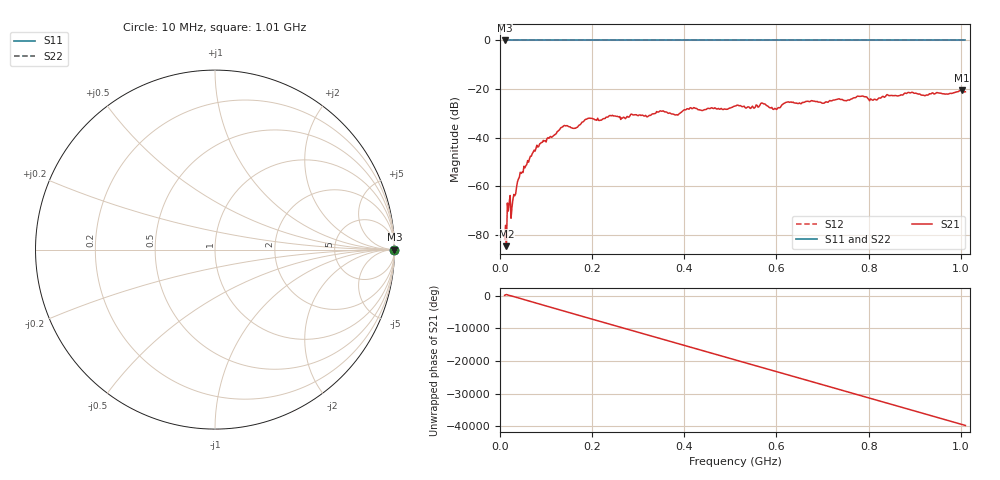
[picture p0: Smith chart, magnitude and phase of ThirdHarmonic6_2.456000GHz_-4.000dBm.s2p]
! 8/17/2025 4:25:09 AM
! C:\ANRITSUVNA\TEMP\TEMP.S2P
! CHANNEL.1
! TR.MEASUREMENT
! RAW.DATA
! RF.CORRECTION.OFF
! AVERAGING.OFF
! IF.BANDWIDTH: 5KHZ
! SWEEPTYPE:  FREQ.SWEEP(Linear)
! Reference Plane Port Info
! PORT:  PORT1  PORT2
! DISTANCE:  0  m  0  m
! TIME:  0  s  0  s
! PHASE.OFFSET:  0  deg.  0  deg.
! LOSS:  0  dB  0  dB
! REF.LOSS:  0  dB  0  dB
! REF.FREQ:  0  Hz  0  Hz
! Power Info
! POWER:  -20  dBm  -20  dBm
! EFF.POWER:  -20  dBm  -20  dBm
! SOURCE.ATTEN:  0  dB  0  dB
! TEST.ATTEN:  0  dB  0  dB
# GHZ S RI R 50.0
! FREQ.GHZ  S11RE  S11IM  S21RE  S21IM  S12RE  S12IM  S22RE  S22IM
!; PortSelection: Port_12
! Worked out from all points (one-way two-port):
!   501 points, 10 MHz to 1.01 GHz, reference 50 ohm
!   highest |S21| = -20.60 dB at 1.002 GHz (marker M1); lowest = -84.8 dB at 14 MHz (marker M2)
!   lowest |S11| = 0.0 dB at 10 MHz (marker M3)
!   |S11| at or under -10 dB: nowhere
!   |S22| runs from 0.0 to 0.0 dB; largest |S21 - S12| = 1.1
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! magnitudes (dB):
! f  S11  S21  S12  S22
! 10 MHz  0.0  -81.9  0.0  0.0
! 14 MHz  0.0  -84.8  0.0  0.0
! 20 MHz  0.0  -66.7  0.0  0.0
! 28 MHz  0.0  -65.7  0.0  0.0
! 42 MHz  0.0  -56.3  0.0  0.0
! 76 MHz  0.0  -45.6  0.0  0.0
! 136 MHz  0.0  -35.6  0.0  0.0
! 162 MHz  0.0  -36.2  0.0  0.0
! 178 MHz  0.0  -33.7  0.0  0.0
! 344 MHz  0.0  -29.5  0.0  0.0
! 382 MHz  0.0  -30.7  0.0  0.0
! 410 MHz  0.0  -28.3  0.0  0.0
! 510 MHz  0.0  -27.0  0.0  0.0
! 570 MHz  0.0  -25.9  0.0  0.0
! 596 MHz  0.0  -28.0  0.0  0.0
! 622 MHz  0.0  -25.5  0.0  0.0
! 678 MHz  0.0  -24.9  0.0  0.0
! 780 MHz  0.0  -23.0  0.0  0.0
! 814 MHz  0.0  -24.2  0.0  0.0
! 844 MHz  0.0  -22.7  0.0  0.0
! 1.002 GHz  0.0  -20.6  0.0  0.0
! 1.01 GHz  0.0  -21.1  0.0  0.0
